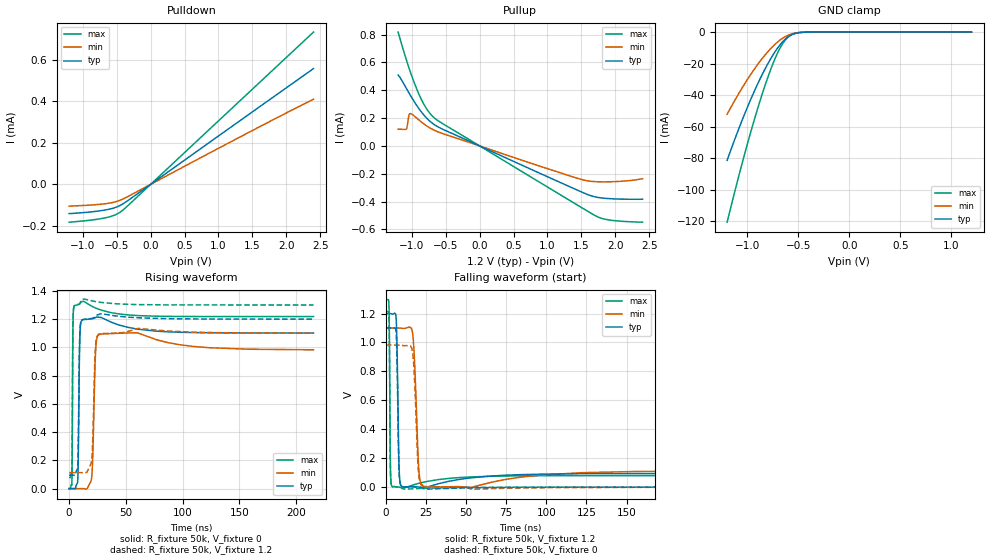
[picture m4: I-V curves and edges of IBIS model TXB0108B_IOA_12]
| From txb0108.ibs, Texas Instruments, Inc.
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[Model]   TXB0108B_IOA_12
Model_type  I/O
Enable   Active-High
Vref =   0
Rref =   1e6
Cref =   15p
Vmeas =   0.6
Vinl=0.385
Vinh=0.845
| variable   typ   min   max
C_comp   5.38pF   4.54pF   5.96pF
| C_pullup   5.26pF   4.47pF   5.76pF
| C_pulldown   5.85pF   4.47pF   14.70pF
| C_tri-state   5.38pF   4.54pF   5.96pF
[Temperature Range]   40   100   -40
| Ambient temperature   25   85   -40
[Voltage range]   1.2   1.1   1.3
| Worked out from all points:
|   slope of the pulldown table from 0 to 0.18 V, typ, clamps not added: 4.29 kohm
|   slope of the pullup table from 0 to 0.18 V, typ, clamps not added: 4.48 kohm
|   GND clamp passes 1 mA (typ) near -0.54 V on its own axis
|   rising waveform, R_fixture 50k, V_fixture 0: 20-80 % time 926ps typ, 1.85ns min, 477ps max; typ from 0 V to 1.1 V
|   falling waveform, R_fixture 50k, V_fixture 1.2: 20-80 % time 949ps typ, 2.02ns min, 475ps max; typ from 1.2 V to 0.095 V
|   rising waveform, R_fixture 50k, V_fixture 1.2: 20-80 % time 996ps typ, 2ns min, 507ps max; typ from 0.095 V to 1.2 V
|   falling waveform, R_fixture 50k, V_fixture 0: 20-80 % time 998ps typ, 2.14ns min, 496ps max; typ from 1.1 V to 0 V
[GND Clamp]
| TXB0108B_IOA_12
|   Voltage   I(typ)   I(min)   I(max)
-1.2V     -81.42mA   -52.18mA   -120.7mA
-1.1V     -63.83mA   -40.59mA   -95mA
-1.005V   -48.36mA   -30.53mA   -71.97mA
-915mV    -35mA      -21.92mA   -51.72mA
-835mV    -24.34mA   -15.14mA   -35.31mA
-765mV    -16.16mA   -10mA      -22.53mA
-700mV    -9.747mA   -6.066mA   -12.65mA
-645mV    -5.494mA   -3.498mA   -6.435mA
-590mV    -2.562mA   -1.714mA   -2.581mA
-525mV    -780.2uA   -571.4uA   -630.6uA
-430mV    -85.83uA   -76.84uA   -44.02uA
1.2V      205.6pA    3.023nA    37.11pA
[Pulldown]
| TXB0108B_IOA_12
|   Voltage   I(typ)   I(min)   I(max)
-1.2V     -140.6uA   -104.5uA   -181.9uA
-665mV    -123uA     -93uA      -160.7uA
-525mV    -111.7uA   -84.5uA    -147.1uA
-425mV    -96.94uA   -72.89uA   -127.9uA
1.365V    317.7uA    236.3uA    417.2uA
2.4V      557.3uA    409.9uA    732.8uA
[Pullup]
| TXB0108B_IOA_12
|   Voltage   I(typ)   I(min)   I(max)
-1.2V     509.3uA    119.8uA    817.9uA
-1.08V    414.7uA    119.7uA    620.7uA
-1.07V    406.1uA    131.8uA    605.4uA
-1.04V    380.6uA    221uA      560.5uA
-1.02V    363.9uA    232.1uA    531.6uA
-830mV    227.2uA    161.3uA    307.6uA
-740mV    180.8uA    131.3uA    238.8uA
-645mV    145.9uA    107.3uA    192.6uA
1.37V     -302.7uA   -222.1uA   -404.6uA
1.72V     -368.3uA   -257.4uA   -505.4uA
1.94V     -379.9uA   -257.7uA   -534.7uA
2.4V      -383.3uA   -236.3uA   -548.4uA
[Ramp]
| TXB0108B_IOA_12
| variable   typ   min   max
dV/dt_r   0.73/1.06E-09   0.66/2.11E-09   0.80/5.49E-10
dV/dt_f   0.72/1.04E-09   0.66/2.25E-09   0.78/5.19E-10
R_load = 50k
[Rising Waveform]
| TXB0108B_IOA_12
R_fixture =   50k
C_fixture =   0
L_fixture =   0
V_fixture =   0
V_fixture_min = 0
V_fixture_max = 0
|   Time   V(typ)   V(min)   V(max)
0s        225.1nV    1.679uV    18.76nV
2.425ns   -25.77uV   3.557uV    33.28mV
3.393ns   47.11uV    6.835uV    1.157V
4.889ns   -2.6mV     4.684uV    1.296V
7.661ns   66.03mV    -3.338uV   1.302V
9.377ns   1.053V     -49.3uV    1.307V
11.53ns   1.193V     384.2uV    1.325V
19.89ns   1.202V     79.65mV    1.292V
26.18ns   1.213V     1.09V      1.27V
215.4ns   1.101V     982.7mV    1.218V
[Falling Waveform]
| TXB0108B_IOA_12
R_fixture =   50k
C_fixture =   0
L_fixture =   0
V_fixture =   1.2
V_fixture_min = 1.1
V_fixture_max = 1.3
|   Time   V(typ)   V(min)   V(max)
0s        1.2V       1.1V       1.3V
1.897ns   1.2V       1.1V       1.261V
2.821ns   1.2V       1.1V       137.9mV
3.965ns   1.196V     1.1V       3.382mV
6.429ns   1.155V     1.1V       1.876mV
8.233ns   128.9mV    1.1V       552.2uV
10.17ns   3.355mV    1.097V     -6.302mV
16.68ns   4.628mV    1.06V      14.31mV
23.5ns    -4.263mV   7.082mV    34.52mV
215.4ns   94.64mV    112.3mV    79.76mV
[Rising Waveform]
| TXB0108B_IOA_12
R_fixture =   50k
C_fixture =   0
L_fixture =   0
V_fixture =   1.2
V_fixture_min = 1.1
V_fixture_max = 1.3
|   Time   V(typ)   V(min)   V(max)
0s        94.74mV    113mV      79.78mV
2.469ns   94.71mV    113mV      128.1mV
3.701ns   94.96mV    113mV      1.257V
7.617ns   157mV      113mV      1.303V
9.289ns   1.064V     112.9mV    1.31V
11.14ns   1.193V     113.2mV    1.335V
19.85ns   1.205V     199.6mV    1.33V
23.02ns   1.219V     972.6mV    1.325V
25.83ns   1.231V     1.092V     1.321V
215.4ns   1.2V       1.1V       1.3V
[Falling Waveform]
| TXB0108B_IOA_12
R_fixture =   50k
C_fixture =   0
L_fixture =   0
V_fixture =   0
V_fixture_min = 0
V_fixture_max = 0
|   Time   V(typ)   V(min)   V(max)
0s        1.101V     982mV      1.218V
1.897ns   1.101V     982mV      1.178V
2.821ns   1.101V     982mV      114.4mV
3.921ns   1.097V     982mV      2.743mV
6.429ns   1.052V     982mV      1.18mV
8.145ns   122.4mV    981.9mV    -10.35uV
10.04ns   2.363mV    979.6mV    -8.919mV
16.59ns   2.556mV    935.7mV    -11.54mV
23.19ns   -10.37mV   4.888mV    -8.106mV
215.4ns   -4.192uV   -102.8uV   12.96uV
